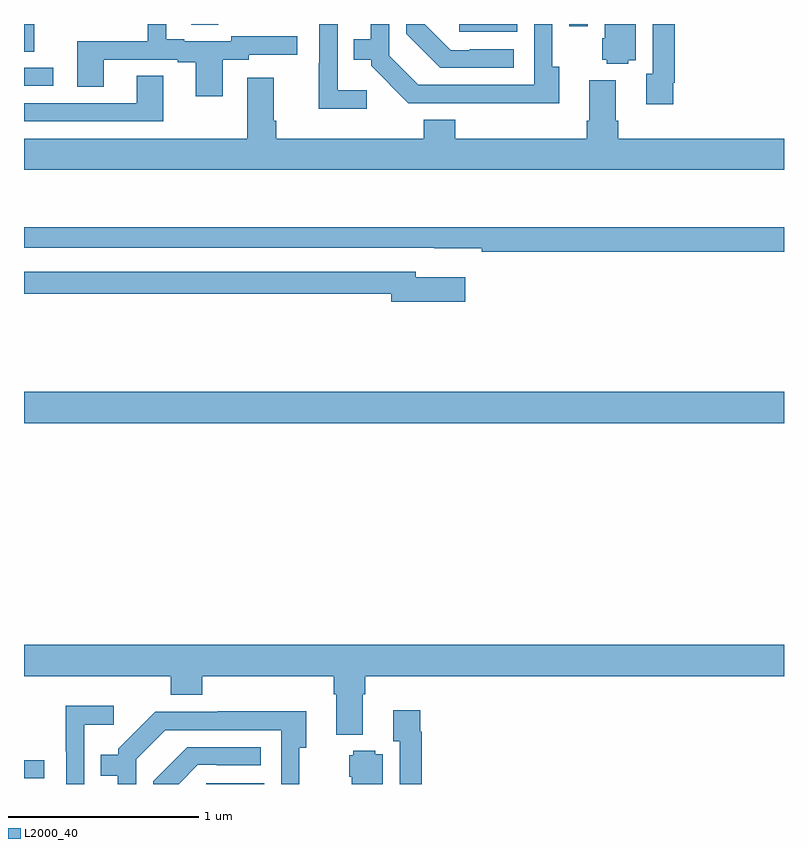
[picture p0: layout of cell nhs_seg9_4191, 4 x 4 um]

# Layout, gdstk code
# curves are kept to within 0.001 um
import gdstk
lib = gdstk.Library(unit=1e-6, precision=1e-09)
def R(c, l, rs):  # rectangles x0, y0, x1, y1
    for r in rs: c.add(gdstk.rectangle(r[:2], r[2:], *l))
def P(c, l, *ps):  # polygons
    for p in ps: c.add(gdstk.Polygon(p, *l))
L2000_40 = (2000, 40)

nhs_seg9_4191 = lib.new_cell('nhs_seg9_4191')
R(nhs_seg9_4191, L2000_40, [(351.96,1214.5,352.264,1214.505), (351,1214.529,351.106,1214.625), (351,1216.4,355,1216.564), (351,1218.174,351.154,1218.27), (351,1218.355,351.054,1218.5), (353.292,1218.459,353.596,1218.5), (353.871,1218.489,353.967,1218.5), (351.879,1218.497,352.023,1218.5)])
P(nhs_seg9_4191, L2000_40, [(352.045,1218.312),(352.182,1218.312),(352.182,1218.339),(352.438,1218.339),(352.438,1218.435),(352.092,1218.435),(352.092,1218.408),(351.844,1218.408),(351.844,1218.421),(351.748,1218.421),(351.748,1218.5),(351.651,1218.5),(351.651,1218.408),(351.281,1218.408),(351.281,1218.169),(351.421,1218.169),(351.421,1218.312),(351.809,1218.312),(351.809,1218.3),(351.905,1218.3),(351.905,1218.12),(352.045,1218.12)],
  [(353.818,1218.274),(353.781,1218.274),(353.781,1218.5),(353.685,1218.5),(353.685,1218.18),(353.076,1218.18),(352.923,1218.333),(352.923,1218.5),(352.826,1218.5),(352.826,1218.421),(352.735,1218.421),(352.735,1218.311),(352.827,1218.311),(352.827,1218.279),(353.022,1218.084),(353.818,1218.083)],
  [(354.418,1218.19),(354.425,1218.19),(354.425,1218.5),(354.309,1218.5),(354.309,1218.239),(354.275,1218.239),(354.275,1218.078),(354.418,1218.078)],
  [(352.804,1218.151),(352.65,1218.151),(352.65,1218.5),(352.554,1218.5),(352.554,1218.293),(352.552,1218.293),(352.552,1218.053),(352.804,1218.053)],
  [(353.578,1218.366),(353.347,1218.366),(353.347,1218.363),(353.247,1218.363),(353.11,1218.5),(353.013,1218.5),(353.013,1218.449),(353.192,1218.27),(353.578,1218.27)],
  [(354.18,1218.308),(354.22,1218.308),(354.22,1218.5),(354.056,1218.5),(354.056,1218.426),(354.044,1218.426),(354.044,1218.312),(354.066,1218.312),(354.066,1218.29),(354.18,1218.29)],
  [(351.733,1218.227),(351.593,1218.227),(351.593,1218.084),(351,1218.084),(351,1217.988),(351.733,1217.988)],
  [(355,1217.896),(354.128,1217.896),(354.128,1217.992),(354.115,1217.992),(354.115,1218.205),(353.975,1218.205),(353.975,1217.992),(353.963,1217.992),(353.963,1217.896),(353.27,1217.896),(353.27,1217.995),(353.105,1217.995),(353.105,1217.896),(352.328,1217.896),(352.328,1217.992),(352.315,1217.992),(352.315,1218.217),(352.175,1218.217),(352.175,1217.896),(351,1217.896),(351,1217.732),(355,1217.732)],
  [(355,1217.431),(351,1217.431),(351,1217.322),(353.158,1217.322),(353.158,1217.321),(353.41,1217.321),(353.41,1217.302),(355,1217.302)],
  [(353.323,1217.167),(353.062,1217.167),(353.062,1217.196),(351,1217.196),(351,1217.08),(352.934,1217.08),(352.934,1217.038),(353.323,1217.038)],
  [(352.783,1214.972),(352.796,1214.972),(352.796,1215.068),(355,1215.068),(355,1215.232),(351,1215.232),(351,1215.068),(351.773,1215.068),(351.773,1214.969),(351.938,1214.969),(351.938,1215.068),(352.631,1215.068),(352.631,1214.972),(352.643,1214.972),(352.643,1214.759),(352.783,1214.759)],
  [(351.318,1214.813),(351.472,1214.813),(351.472,1214.911),(351.22,1214.911),(351.22,1214.672),(351.222,1214.672),(351.222,1214.5),(351.318,1214.5)],
  [(353.093,1214.774),(353.086,1214.774),(353.086,1214.887),(352.943,1214.887),(352.943,1214.726),(352.977,1214.726),(352.977,1214.5),(353.093,1214.5)],
  [(351.591,1214.631),(351.744,1214.784),(352.353,1214.784),(352.353,1214.5),(352.449,1214.5),(352.449,1214.69),(352.486,1214.69),(352.486,1214.882),(352.021,1214.882),(352.021,1214.88),(351.69,1214.88),(351.495,1214.685),(351.495,1214.653),(351.403,1214.653),(351.403,1214.544),(351.494,1214.544),(351.494,1214.5),(351.591,1214.5)],
  [(351.915,1214.601),(352.015,1214.601),(352.015,1214.598),(352.246,1214.598),(352.246,1214.694),(351.86,1214.694),(351.681,1214.515),(351.681,1214.5),(351.814,1214.5)],
  [(352.888,1214.656),(352.848,1214.656),(352.848,1214.674),(352.734,1214.674),(352.734,1214.652),(352.712,1214.652),(352.712,1214.538),(352.724,1214.538),(352.724,1214.5),(352.888,1214.5)])

lib.write_gds('nhs_seg9_4191.gds')
